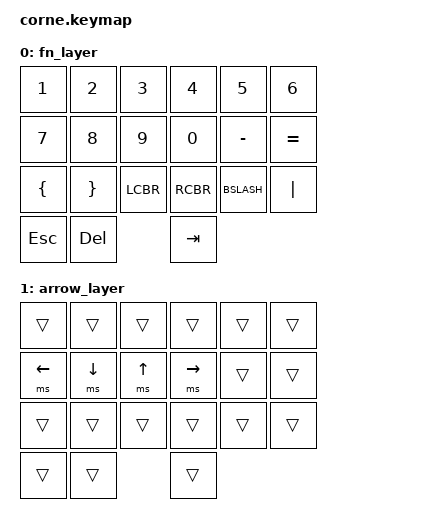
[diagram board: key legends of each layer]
/ {
    keymap {
        compatible = "zmk,keymap";

        default_layer {
            bindings = <
                // Left hand
                &kp ESC  &kp {    &kp }    &kp (    &kp )    &kp T
                &mt LCTL A &mt LGUI S &mt LALT D &mt LCTL F &mt LGUI G &kp H
                &kp Z  &kp X  &kp C  &kp V  &kp B  &kp N
                &mo 1 &kp SPACE &kp BSPC

                // Right hand
                &kp Y  &kp U  &kp I  &kp O  &kp P  &kp LBRC
                &mt LALT J &mt LCTL K &mt LGUI L &mt LALT SCLN &mt LGUI QUOTE &kp ENTER
                &kp M  &kp COMMA &kp DOT &kp SLASH &kp MINUS &kp EQUAL
                &kp BSPC &kp SPACE &mo 2
            >;
        };

        fn_layer {
            bindings = <
                // Numbers & Symbols Layer (MO1)
                &kp 1 &kp 2 &kp 3 &kp 4 &kp 5 &kp 6
                &kp 7 &kp 8 &kp 9 &kp 0 &kp MINUS &kp EQUAL
                &kp LBRC &kp RBRC &kp LCBR &kp RCBR &kp BSLASH &kp PIPE
                &kp ESC &kp DEL &kp TAB
            >;
        };

        arrow_layer {
            bindings = <
                // Arrow / Mouse Layer (MO2)
                &trans &trans &trans &trans &trans &trans
                &ms LEFT &ms DOWN &ms UP &ms RIGHT &trans &trans
                &trans &trans &trans &trans &trans &trans
                &trans &trans &trans
            >;
        };
    };
};
